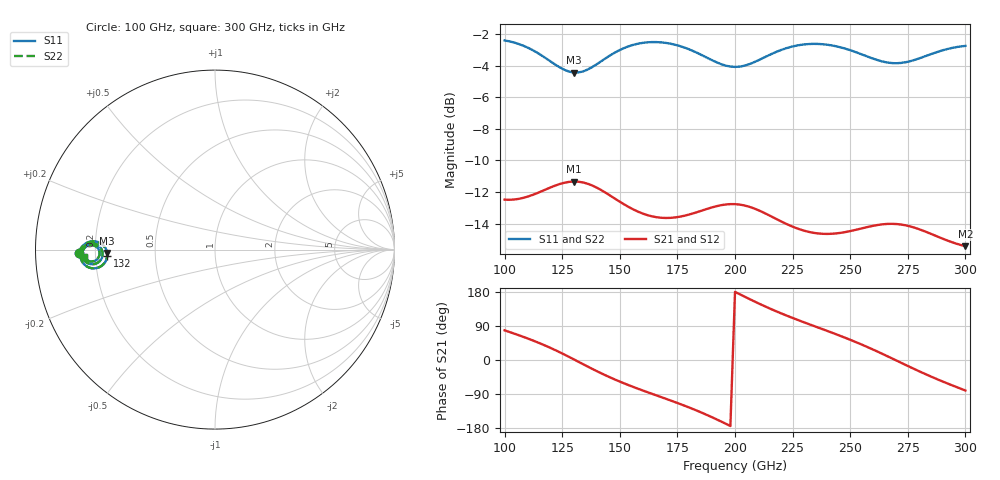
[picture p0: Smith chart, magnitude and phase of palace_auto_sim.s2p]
#  GHZ S DB R 50
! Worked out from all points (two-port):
!   101 points, 100 GHz to 300 GHz, reference 50 ohm
!   highest |S21| = -11.33 dB at 130 GHz (marker M1); lowest = -15.4 dB at 300 GHz (marker M2)
!   |S21| within 3 dB of the highest: start of sweep to 227.5 GHz; 254.2 GHz to 279.4 GHz (25.24 GHz wide, 9.46 % of centre)
!   lowest |S11| = -4.4 dB at 130 GHz (marker M3), VSWR 4.01, Z = 12.5 - j0.726 ohm
!   |S11| at or under -10 dB: nowhere
!   |S22| runs from -4.4 to -2.4 dB; largest |S21 - S12| = 4.6e-14
!   S11 on the Smith chart (normalised r, x): 100 GHz: 0.14, -0.01; 132 GHz: 0.25, -0.03; 300 GHz: 0.16, -0.03
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100  -2.39 -178.6  -12.48 78.3  -12.48 78.3  -2.39 -178.6
116  -3.34 176.1  -11.95 42.3  -11.95 42.3  -3.33 176.1
122  -3.92 176.8  -11.59 26.0  -11.59 26.0  -3.91 176.9
130  -4.43 -178.2  -11.33 1.8  -11.33 1.8  -4.41 -178.2
132  -4.42 -176.6  -11.34 -4.5  -11.34 -4.5  -4.41 -176.6
134  -4.36 -175.1  -11.39 -10.8  -11.39 -10.8  -4.34 -175.1
142  -3.70 -171.3  -11.88 -35.2  -11.88 -35.2  -3.69 -171.3
148  -3.15 -171.4  -12.43 -51.8  -12.43 -51.8  -3.14 -171.5
158  -2.60 -174.6  -13.25 -76.0  -13.25 -76.0  -2.59 -174.6
168  -2.52 -178.6  -13.63 -98.0  -13.63 -98.0  -2.51 -178.6
178  -2.84 178.1  -13.50 -120.4  -13.50 -120.4  -2.83 178.1
186  -3.35 177.1  -13.16 -140.2  -13.16 -140.2  -3.34 177.1
194  -3.89 178.8  -12.83 -162.4  -12.83 -162.4  -3.88 178.8
200  -4.07 -178.1  -12.77 179.8  -12.77 179.8  -4.06 -178.1
206  -3.91 -174.9  -12.92 161.7  -12.92 161.7  -3.90 -175.0
216  -3.24 -173.2  -13.56 133.5  -13.56 133.5  -3.23 -173.2
234  -2.61 -177.7  -14.58 90.3  -14.58 90.3  -2.60 -177.7
252  -3.11 178.0  -14.41 48.4  -14.41 48.4  -3.10 178.0
268  -3.83 -179.0  -14.01 4.6  -14.01 4.6  -3.82 -179.0
276  -3.71 -175.9  -14.18 -18.6  -14.18 -18.6  -3.70 -175.9
284  -3.32 -174.5  -14.59 -40.8  -14.59 -40.8  -3.31 -174.5
300  -2.74 -176.9  -15.43 -80.5  -15.43 -80.5  -2.73 -176.9
